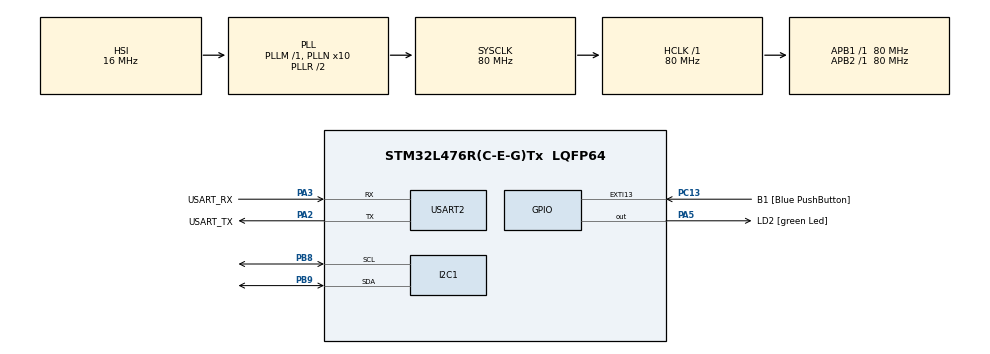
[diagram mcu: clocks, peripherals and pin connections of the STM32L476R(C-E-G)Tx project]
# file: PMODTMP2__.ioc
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I2C1.Timing=0x10909CEC
Mcu.Family=STM32L4
Mcu.Name=STM32L476R(C-E-G)Tx
Mcu.Package=LQFP64
NVIC.PriorityGroup=NVIC_PRIORITYGROUP_4
PA13\ (JTMS-SWDIO).GPIO_Label=TMS
PA13\ (JTMS-SWDIO).Mode=Serial_Wire
PA13\ (JTMS-SWDIO).Signal=SYS_JTMS-SWDIO
PA14\ (JTCK-SWCLK).GPIO_Label=TCK
PA14\ (JTCK-SWCLK).Mode=Serial_Wire
PA14\ (JTCK-SWCLK).Signal=SYS_JTCK-SWCLK
PA2.GPIO_Label=USART_TX
PA2.GPIO_Mode=GPIO_MODE_AF_PP
PA2.GPIO_PuPd=GPIO_NOPULL
PA2.GPIO_Speed=GPIO_SPEED_FREQ_VERY_HIGH
PA2.Mode=Asynchronous
PA2.Signal=USART2_TX
PA3.GPIO_Label=USART_RX
PA3.GPIO_Mode=GPIO_MODE_AF_PP
PA3.GPIO_PuPd=GPIO_NOPULL
PA3.GPIO_Speed=GPIO_SPEED_FREQ_VERY_HIGH
PA3.Mode=Asynchronous
PA3.Signal=USART2_RX
PA5.GPIO_Label=LD2 [green Led]
PA5.GPIO_ModeDefaultOutputPP=GPIO_MODE_OUTPUT_PP
PA5.GPIO_PuPd=GPIO_NOPULL
PA5.GPIO_Speed=GPIO_SPEED_FREQ_LOW
PA5.Signal=GPIO_Output
PB3\ (JTDO-TRACESWO).GPIO_Label=SWO
PB3\ (JTDO-TRACESWO).Signal=SYS_JTDO-SWO
PB8.GPIO_Pu=GPIO_PULLUP
PB8.Mode=I2C
PB8.Signal=I2C1_SCL
PB9.GPIO_Pu=GPIO_PULLUP
PB9.Mode=I2C
PB9.Signal=I2C1_SDA
PC13.GPIO_Label=B1 [Blue PushButton]
PC13.GPIO_ModeDefaultEXTI=GPIO_MODE_IT_FALLING
PC13.GPIO_PuPd=GPIO_NOPULL
PC13.Signal=GPXTI13
PC14-OSC32_IN\ (PC14).Mode=LSE-External-Oscillator
PC14-OSC32_IN\ (PC14).Signal=RCC_OSC32_IN
PC15-OSC32_OUT\ (PC15).Mode=LSE-External-Oscillator
PC15-OSC32_OUT\ (PC15).Signal=RCC_OSC32_OUT
PH0-OSC_IN\ (PH0).Signal=RCC_OSC_IN
PH1-OSC_OUT\ (PH1).Signal=RCC_OSC_OUT
ProjectManager.HeapSize=0x200
ProjectManager.StackSize=0x400
ProjectManager.TargetToolchain=STM32CubeIDE
RCC.ADCFreq_Value=64000000
RCC.AHBFreq_Value=80000000
RCC.APB1Freq_Value=80000000
RCC.APB1TimFreq_Value=80000000
RCC.APB2Freq_Value=80000000
RCC.APB2TimFreq_Value=80000000
RCC.CortexFreq_Value=80000000
RCC.HCLKFreq_Value=80000000
RCC.HSE_VALUE=8000000
RCC.HSI_VALUE=16000000
RCC.MSI_VALUE=4000000
RCC.PLLN=10
RCC.PLLSourceVirtual=RCC_PLLSOURCE_HSI
RCC.PREFETCH_ENABLE=1
RCC.SYSCLKFreq_VALUE=80000000
RCC.SYSCLKSource=RCC_SYSCLKSOURCE_PLLCLK
RCC.USBFreq_Value=64000000
RCC.VCOOutputFreq_Value=160000000
USART2.VirtualMode-Asynchronous=VM_ASYNC
board=NUCLEO-L476RG

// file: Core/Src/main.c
/* USER CODE BEGIN Header */
/**
  ******************************************************************************
  * @file           : main.c
  * @brief          : Main program body
  ******************************************************************************
  * @attention
  *
  * Copyright (c) 2022 STMicroelectronics.
  * All rights reserved.
  *
  * This software is licensed under terms that can be found in the LICENSE file
  * in the root directory of this software component.
  * If no LICENSE file comes with this software, it is provided AS-IS.
  *
  ******************************************************************************
  */
/* USER CODE END Header */
#include "main.h"
#include "lib_lcd.h"

/* USER CODE BEGIN Includes */
#include <string.h>
#include <stdio.h>
/* USER CODE END Includes */

/* USER CODE BEGIN PD */
static const uint8_t TMP2_ADDR = 0x4B << 1;
static const uint8_t REG_TEMP = 0x00;
/* USER CODE END PD */

I2C_HandleTypeDef hi2c1;

UART_HandleTypeDef huart2;

void SystemClock_Config(void);
static void MX_GPIO_Init(void);
static void MX_USART2_UART_Init(void);
static void MX_I2C1_Init(void);

/* USER CODE BEGIN 0 */
static rgb_lcd lcdData;
/* USER CODE END 0 */

int main(void)
{
  /* USER CODE BEGIN 1 */
	HAL_StatusTypeDef ret;
	uint8_t buf[12];
	int16_t val;
	float temp_c;
  /* USER CODE END 1 */

  /* MCU Configuration--------------------------------------------------------*/

  /* Reset of all peripherals, Initializes the Flash interface and the Systick. */
  HAL_Init();

  /* USER CODE BEGIN Init */
  lcd_init(&hi2c1, &lcdData);
  /* USER CODE END Init */

  /* Configure the system clock */
  SystemClock_Config();

  /* Initialize all configured peripherals */
  MX_GPIO_Init();
  MX_USART2_UART_Init();
  MX_I2C1_Init();

  /* Infinite loop */
  /* USER CODE BEGIN WHILE */
  while (1)
  {
	  buf[0] = REG_TEMP;
	  	  ret = HAL_I2C_Master_Transmit(&hi2c1, TMP2_ADDR, buf, 1, HAL_MAX_DELAY);
	  	      if ( ret != HAL_OK ) {
	  	        strcpy((char*)buf, "Error ACK\r\n");
	  	      }
	  	      else
	  	      {
	  	    	  // Read 2 bytes from the temperature register
	  	    	  ret = HAL_I2C_Master_Receive(&hi2c1, TMP2_ADDR, buf, 2, HAL_MAX_DELAY);

	  	    	  if ( ret != HAL_OK ) {
	  	    	          strcpy((char*)buf, "Error ACK\r\n");
	  	    	        } else {
	  	    	        	//Combine the bytes
	  	    	        	val = ((int16_t)buf[0] << 4) | (buf[1] >> 4);

	  	    	        	// Convert to 2's complement, since temperature can be negative
	  	    	        	if ( val > 0xFFF ) {
	  	    	        	     val |= 0xF000;
	  	    	        	}

	  	    	        	// Convert to float temperature value (Celsius)
	  	    	        	temp_c = val * 0.0078;

	  	    	        	// Convert temperature to decimal format
	  	    	        	temp_c *= 1000;
	  	    	        	sprintf((char*)buf, "Temp : %u.%02u C", ((unsigned int)temp_c / 100), ((unsigned int)temp_c % 100));
	  	    	        }
	  	      }

	         lcd_position(&hi2c1,0,0);
	  	   lcd_print(&hi2c1,buf);
	  	   reglagecouleur(0,0,255);

	      /* USER CODE END WHILE */
	  	  HAL_Delay(1000);
	  	  clearlcd();

    /* USER CODE END WHILE */

  }
}

void SystemClock_Config(void)
{
  RCC_OscInitTypeDef RCC_OscInitStruct = {0};
  RCC_ClkInitTypeDef RCC_ClkInitStruct = {0};

  /** Configure the main internal regulator output voltage
  */
  if (HAL_PWREx_ControlVoltageScaling(PWR_REGULATOR_VOLTAGE_SCALE1) != HAL_OK)
  {
    Error_Handler();
  }
  /** Initializes the RCC Oscillators according to the specified parameters
  * in the RCC_OscInitTypeDef structure.
  */
  RCC_OscInitStruct.OscillatorType = RCC_OSCILLATORTYPE_HSI;
  RCC_OscInitStruct.HSIState = RCC_HSI_ON;
  RCC_OscInitStruct.HSICalibrationValue = RCC_HSICALIBRATION_DEFAULT;
  RCC_OscInitStruct.PLL.PLLState = RCC_PLL_ON;
  RCC_OscInitStruct.PLL.PLLSource = RCC_PLLSOURCE_HSI;
  RCC_OscInitStruct.PLL.PLLM = 1;
  RCC_OscInitStruct.PLL.PLLN = 10;
  RCC_OscInitStruct.PLL.PLLP = RCC_PLLP_DIV7;
  RCC_OscInitStruct.PLL.PLLQ = RCC_PLLQ_DIV2;
  RCC_OscInitStruct.PLL.PLLR = RCC_PLLR_DIV2;
  if (HAL_RCC_OscConfig(&RCC_OscInitStruct) != HAL_OK)
  {
    Error_Handler();
  }
  /** Initializes the CPU, AHB and APB buses clocks
  */
  RCC_ClkInitStruct.ClockType = RCC_CLOCKTYPE_HCLK|RCC_CLOCKTYPE_SYSCLK
                              |RCC_CLOCKTYPE_PCLK1|RCC_CLOCKTYPE_PCLK2;
  RCC_ClkInitStruct.SYSCLKSource = RCC_SYSCLKSOURCE_PLLCLK;
  RCC_ClkInitStruct.AHBCLKDivider = RCC_SYSCLK_DIV1;
  RCC_ClkInitStruct.APB1CLKDivider = RCC_HCLK_DIV1;
  RCC_ClkInitStruct.APB2CLKDivider = RCC_HCLK_DIV1;

  if (HAL_RCC_ClockConfig(&RCC_ClkInitStruct, FLASH_LATENCY_4) != HAL_OK)
  {
    Error_Handler();
  }
}

static void MX_I2C1_Init(void)
{

  hi2c1.Instance = I2C1;
  hi2c1.Init.Timing = 0x10909CEC;
  hi2c1.Init.OwnAddress1 = 0;
  hi2c1.Init.AddressingMode = I2C_ADDRESSINGMODE_7BIT;
  hi2c1.Init.DualAddressMode = I2C_DUALADDRESS_DISABLE;
  hi2c1.Init.OwnAddress2 = 0;
  hi2c1.Init.OwnAddress2Masks = I2C_OA2_NOMASK;
  hi2c1.Init.GeneralCallMode = I2C_GENERALCALL_DISABLE;
  hi2c1.Init.NoStretchMode = I2C_NOSTRETCH_DISABLE;
  if (HAL_I2C_Init(&hi2c1) != HAL_OK)
  {
    Error_Handler();
  }
  /** Configure Analogue filter
  */
  if (HAL_I2CEx_ConfigAnalogFilter(&hi2c1, I2C_ANALOGFILTER_ENABLE) != HAL_OK)
  {
    Error_Handler();
  }
  /** Configure Digital filter
  */
  if (HAL_I2CEx_ConfigDigitalFilter(&hi2c1, 0) != HAL_OK)
  {
    Error_Handler();
  }

}

static void MX_USART2_UART_Init(void)
{

  huart2.Instance = USART2;
  huart2.Init.BaudRate = 115200;
  huart2.Init.WordLength = UART_WORDLENGTH_8B;
  huart2.Init.StopBits = UART_STOPBITS_1;
  huart2.Init.Parity = UART_PARITY_NONE;
  huart2.Init.Mode = UART_MODE_TX_RX;
  huart2.Init.HwFlowCtl = UART_HWCONTROL_NONE;
  huart2.Init.OverSampling = UART_OVERSAMPLING_16;
  huart2.Init.OneBitSampling = UART_ONE_BIT_SAMPLE_DISABLE;
  huart2.AdvancedInit.AdvFeatureInit = UART_ADVFEATURE_NO_INIT;
  if (HAL_UART_Init(&huart2) != HAL_OK)
  {
    Error_Handler();
  }

}

static void MX_GPIO_Init(void)
{
  GPIO_InitTypeDef GPIO_InitStruct = {0};

  /* GPIO Ports Clock Enable */
  __HAL_RCC_GPIOC_CLK_ENABLE();
  __HAL_RCC_GPIOH_CLK_ENABLE();
  __HAL_RCC_GPIOA_CLK_ENABLE();
  __HAL_RCC_GPIOB_CLK_ENABLE();

  /*Configure GPIO pin Output Level */
  HAL_GPIO_WritePin(LD2_GPIO_Port, LD2_Pin, GPIO_PIN_RESET);

  /*Configure GPIO pin : B1_Pin */
  GPIO_InitStruct.Pin = B1_Pin;
  GPIO_InitStruct.Mode = GPIO_MODE_IT_FALLING;
  GPIO_InitStruct.Pull = GPIO_NOPULL;
  HAL_GPIO_Init(B1_GPIO_Port, &GPIO_InitStruct);

  /*Configure GPIO pin : LD2_Pin */
  GPIO_InitStruct.Pin = LD2_Pin;
  GPIO_InitStruct.Mode = GPIO_MODE_OUTPUT_PP;
  GPIO_InitStruct.Pull = GPIO_NOPULL;
  GPIO_InitStruct.Speed = GPIO_SPEED_FREQ_LOW;
  HAL_GPIO_Init(LD2_GPIO_Port, &GPIO_InitStruct);

}

void Error_Handler(void)
{
  __disable_irq();
  while (1)
  {
  }
}
